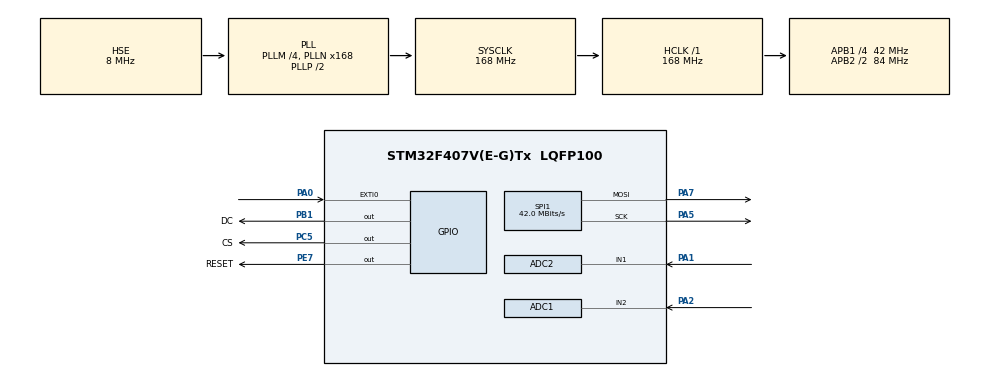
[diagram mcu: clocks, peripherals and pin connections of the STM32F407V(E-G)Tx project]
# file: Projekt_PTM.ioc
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ADC1.Channel-3\#ChannelRegularConversion=ADC_CHANNEL_2
ADC1.ClockPrescaler=ADC_CLOCK_SYNC_PCLK_DIV8
ADC1.ContinuousConvMode=ENABLE
ADC1.DMAContinuousRequests=ENABLE
ADC1.NbrOfConversionFlag=1
ADC1.Rank-3\#ChannelRegularConversion=1
ADC1.SamplingTime-3\#ChannelRegularConversion=ADC_SAMPLETIME_480CYCLES
ADC1.ScanConvMode=ENABLE
ADC1.master=1
ADC2.Channel-0\#ChannelRegularConversion=ADC_CHANNEL_1
ADC2.ClockPrescaler=ADC_CLOCK_SYNC_PCLK_DIV8
ADC2.NbrOfConversion=1
ADC2.NbrOfConversionFlag=1
ADC2.Rank-0\#ChannelRegularConversion=1
ADC2.SamplingTime-0\#ChannelRegularConversion=ADC_SAMPLETIME_3CYCLES
Dma.ADC1.0.Direction=DMA_PERIPH_TO_MEMORY
Dma.ADC1.0.FIFOMode=DMA_FIFOMODE_DISABLE
Dma.ADC1.0.Instance=DMA2_Stream0
Dma.ADC1.0.MemDataAlignment=DMA_MDATAALIGN_WORD
Dma.ADC1.0.MemInc=DMA_MINC_ENABLE
Dma.ADC1.0.Mode=DMA_CIRCULAR
Dma.ADC1.0.PeriphDataAlignment=DMA_PDATAALIGN_WORD
Dma.ADC1.0.PeriphInc=DMA_PINC_DISABLE
Dma.ADC1.0.Priority=DMA_PRIORITY_LOW
Dma.Request0=ADC1
Mcu.Family=STM32F4
Mcu.Name=STM32F407V(E-G)Tx
Mcu.Package=LQFP100
NVIC.ADC_IRQn=true\:0\:0\:false\:false\:true\:true\:true
NVIC.DMA2_Stream0_IRQn=true\:0\:0\:false\:false\:true\:false\:true
NVIC.EXTI0_IRQn=true\:0\:0\:false\:false\:true\:true\:true
NVIC.PriorityGroup=NVIC_PRIORITYGROUP_4
PA0-WKUP.Signal=GPXTI0
PA1.Signal=ADCx_IN1
PA2.Signal=ADCx_IN2
PA5.Mode=TX_Only_Simplex_Unidirect_Master
PA5.Signal=SPI1_SCK
PA7.Mode=TX_Only_Simplex_Unidirect_Master
PA7.Signal=SPI1_MOSI
PB1.GPIO_Label=DC
PB1.GPIO_ModeDefaultOutputPP=GPIO_MODE_OUTPUT_PP
PB1.GPIO_PuPd=GPIO_NOPULL
PB1.GPIO_Speed=GPIO_SPEED_FREQ_LOW
PB1.PinState=GPIO_PIN_RESET
PB1.Signal=GPIO_Output
PC5.GPIO_Label=CS
PC5.GPIO_ModeDefaultOutputPP=GPIO_MODE_OUTPUT_PP
PC5.GPIO_PuPd=GPIO_NOPULL
PC5.GPIO_Speed=GPIO_SPEED_FREQ_LOW
PC5.PinState=GPIO_PIN_RESET
PC5.Signal=GPIO_Output
PE7.GPIO_Label=RESET
PE7.GPIO_ModeDefaultOutputPP=GPIO_MODE_OUTPUT_PP
PE7.GPIO_PuPd=GPIO_NOPULL
PE7.GPIO_Speed=GPIO_SPEED_FREQ_LOW
PE7.PinState=GPIO_PIN_RESET
PE7.Signal=GPIO_Output
PH0-OSC_IN.Mode=HSE-External-Oscillator
PH0-OSC_IN.Signal=RCC_OSC_IN
PH1-OSC_OUT.Mode=HSE-External-Oscillator
PH1-OSC_OUT.Signal=RCC_OSC_OUT
ProjectManager.HeapSize=0x200
ProjectManager.StackSize=0x400
ProjectManager.TargetToolchain=STM32CubeIDE
RCC.48MHZClocksFreq_Value=84000000
RCC.AHBFreq_Value=168000000
RCC.APB1CLKDivider=RCC_HCLK_DIV4
RCC.APB1Freq_Value=42000000
RCC.APB1TimFreq_Value=84000000
RCC.APB2CLKDivider=RCC_HCLK_DIV2
RCC.APB2Freq_Value=84000000
RCC.APB2TimFreq_Value=168000000
RCC.CortexFreq_Value=168000000
RCC.HCLKFreq_Value=168000000
RCC.HSE_VALUE=8000000
RCC.HSI_VALUE=16000000
RCC.LSE_VALUE=32768
RCC.PLLM=4
RCC.PLLN=168
RCC.PLLSourceVirtual=RCC_PLLSOURCE_HSE
RCC.SYSCLKFreq_VALUE=168000000
RCC.SYSCLKSource=RCC_SYSCLKSOURCE_PLLCLK
RCC.VCOOutputFreq_Value=336000000
SH.ADCx_IN1.0=ADC2_IN1,IN1
SH.ADCx_IN2.0=ADC1_IN2,IN2
SPI1.CLKPhase=SPI_PHASE_2EDGE
SPI1.CLKPolarity=SPI_POLARITY_HIGH
SPI1.CalculateBaudRate=42.0 MBits/s
SPI1.Direction=SPI_DIRECTION_2LINES
SPI1.Mode=SPI_MODE_MASTER
SPI1.VirtualType=VM_MASTER
board=custom

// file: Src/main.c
/* USER CODE BEGIN Header */
/**
  ******************************************************************************
  * @file           : main.c
  * @brief          : Main program body
  ******************************************************************************
  * @attention
  *
  * <h2><center>&copy; Copyright (c) 2020 STMicroelectronics.
  * All rights reserved.</center></h2>
  *
  * This software component is licensed by ST under BSD 3-Clause license,
  * the "License"; You may not use this file except in compliance with the
  * License. You may obtain a copy of the License at:
  *                        opensource.org/licenses/BSD-3-Clause
  *
  ******************************************************************************
  */
/* USER CODE END Header */

#include "main.h"

/* USER CODE BEGIN Includes */
#include "SSD1331.h"
/* USER CODE END Includes */

ADC_HandleTypeDef hadc1;
ADC_HandleTypeDef hadc2;
DMA_HandleTypeDef hdma_adc1;

SPI_HandleTypeDef hspi1;

/* USER CODE BEGIN PV */
int const ILOSC_CZUJNIKOW=2;
float air_quality_val=0;
int switcher=0;
uint16_t adc_avg;
uint16_t sum;
float temp=0;
uint16_t temp_buf[9];

/* USER CODE END PV */

void SystemClock_Config(void);
static void MX_GPIO_Init(void);
static void MX_DMA_Init(void);
static void MX_SPI1_Init(void);
static void MX_ADC1_Init(void);
static void MX_ADC2_Init(void);
/* USER CODE BEGIN PFP */

void HAL_ADC_ConvCpltCallback(ADC_HandleTypeDef* hadc)
{

	adc_avg=(temp_buf[0]+temp_buf[2]+temp_buf[4]+temp_buf[6]+temp_buf[8])/5;
	temp = ((adc_avg*3*100)/4095);

}
void HAL_GPIO_EXTI_Callback(uint16_t GPIO_Pin)
{
 if(HAL_GPIO_ReadPin(GPIOA, GPIO_PIN_0) == GPIO_PIN_SET)
 {
	 if(switcher==ILOSC_CZUJNIKOW-1)switcher=0;
	 else switcher++;

 }
}
float ADC_avg()
{
	float adc_temp=0;
	float adc=0;
	if(HAL_ADC_PollForConversion(&hadc2, 10) == HAL_OK)
		   		  {
		   		   adc = HAL_ADC_GetValue(&hadc2);
		   		  }
		   for(int i=0;i<10;i++){
			   adc_temp=adc_temp+adc;
			   HAL_Delay(200);

		   }
		   return adc_temp=adc_temp/10;
}
void wyswietlanie()
{
	ssd1331_clear_screen(WHITE);
	switch(switcher)
	{
	case 0:
		ssd1331_display_string(0,0,"Jakosc powietrza: ",FONT_1206,BLACK);
		ssd1331_display_num (33,21,air_quality_val,4,FONT_1608,BLACK);
		break;

	case 1:
		ssd1331_display_string(0,0,"Temperatura: ",FONT_1206,BLACK);
		ssd1331_display_num (33,21,temp,2,FONT_1608,BLACK);
		break;
	}

}
/* USER CODE END PFP */

int main(void)
{

  /* MCU Configuration--------------------------------------------------------*/

  /* Reset of all peripherals, Initializes the Flash interface and the Systick. */
  HAL_Init();

  /* Configure the system clock */
  SystemClock_Config();

  /* Initialize all configured peripherals */
  MX_GPIO_Init();
  MX_DMA_Init();
  MX_SPI1_Init();
  MX_ADC1_Init();
  MX_ADC2_Init();
  /* USER CODE BEGIN 2 */

  HAL_ADC_Start_DMA (&hadc1, temp_buf, 5);
  //HAL_Delay(500);
ssd1331_init();
ssd1331_clear_screen(WHITE);

  /* USER CODE END 2 */

  /* Infinite loop */
  /* USER CODE BEGIN WHILE */
   while (1)
  {
	   HAL_ADC_Start(&hadc2);
	   air_quality_val=ADC_avg();
	   wyswietlanie();
	   HAL_Delay(3000);
    /* USER CODE END WHILE */

  }
}

void SystemClock_Config(void)
{
  RCC_OscInitTypeDef RCC_OscInitStruct = {0};
  RCC_ClkInitTypeDef RCC_ClkInitStruct = {0};

  /** Configure the main internal regulator output voltage
  */
  __HAL_RCC_PWR_CLK_ENABLE();
  __HAL_PWR_VOLTAGESCALING_CONFIG(PWR_REGULATOR_VOLTAGE_SCALE1);
  /** Initializes the CPU, AHB and APB busses clocks
  */
  RCC_OscInitStruct.OscillatorType = RCC_OSCILLATORTYPE_HSE;
  RCC_OscInitStruct.HSEState = RCC_HSE_ON;
  RCC_OscInitStruct.PLL.PLLState = RCC_PLL_ON;
  RCC_OscInitStruct.PLL.PLLSource = RCC_PLLSOURCE_HSE;
  RCC_OscInitStruct.PLL.PLLM = 4;
  RCC_OscInitStruct.PLL.PLLN = 168;
  RCC_OscInitStruct.PLL.PLLP = RCC_PLLP_DIV2;
  RCC_OscInitStruct.PLL.PLLQ = 4;
  if (HAL_RCC_OscConfig(&RCC_OscInitStruct) != HAL_OK)
  {
    Error_Handler();
  }
  /** Initializes the CPU, AHB and APB busses clocks
  */
  RCC_ClkInitStruct.ClockType = RCC_CLOCKTYPE_HCLK|RCC_CLOCKTYPE_SYSCLK
                              |RCC_CLOCKTYPE_PCLK1|RCC_CLOCKTYPE_PCLK2;
  RCC_ClkInitStruct.SYSCLKSource = RCC_SYSCLKSOURCE_PLLCLK;
  RCC_ClkInitStruct.AHBCLKDivider = RCC_SYSCLK_DIV1;
  RCC_ClkInitStruct.APB1CLKDivider = RCC_HCLK_DIV4;
  RCC_ClkInitStruct.APB2CLKDivider = RCC_HCLK_DIV2;

  if (HAL_RCC_ClockConfig(&RCC_ClkInitStruct, FLASH_LATENCY_5) != HAL_OK)
  {
    Error_Handler();
  }
}

static void MX_ADC1_Init(void)
{

  ADC_ChannelConfTypeDef sConfig = {0};

  /** Configure the global features of the ADC (Clock, Resolution, Data Alignment and number of conversion)
  */
  hadc1.Instance = ADC1;
  hadc1.Init.ClockPrescaler = ADC_CLOCK_SYNC_PCLK_DIV8;
  hadc1.Init.Resolution = ADC_RESOLUTION_12B;
  hadc1.Init.ScanConvMode = ENABLE;
  hadc1.Init.ContinuousConvMode = ENABLE;
  hadc1.Init.DiscontinuousConvMode = DISABLE;
  hadc1.Init.ExternalTrigConvEdge = ADC_EXTERNALTRIGCONVEDGE_NONE;
  hadc1.Init.ExternalTrigConv = ADC_SOFTWARE_START;
  hadc1.Init.DataAlign = ADC_DATAALIGN_RIGHT;
  hadc1.Init.NbrOfConversion = 1;
  hadc1.Init.DMAContinuousRequests = ENABLE;
  hadc1.Init.EOCSelection = ADC_EOC_SINGLE_CONV;
  if (HAL_ADC_Init(&hadc1) != HAL_OK)
  {
    Error_Handler();
  }
  /** Configure for the selected ADC regular channel its corresponding rank in the sequencer and its sample time.
  */
  sConfig.Channel = ADC_CHANNEL_2;
  sConfig.Rank = 1;
  sConfig.SamplingTime = ADC_SAMPLETIME_480CYCLES;
  if (HAL_ADC_ConfigChannel(&hadc1, &sConfig) != HAL_OK)
  {
    Error_Handler();
  }

}

static void MX_ADC2_Init(void)
{

  ADC_ChannelConfTypeDef sConfig = {0};

  /** Configure the global features of the ADC (Clock, Resolution, Data Alignment and number of conversion)
  */
  hadc2.Instance = ADC2;
  hadc2.Init.ClockPrescaler = ADC_CLOCK_SYNC_PCLK_DIV8;
  hadc2.Init.Resolution = ADC_RESOLUTION_12B;
  hadc2.Init.ScanConvMode = DISABLE;
  hadc2.Init.ContinuousConvMode = DISABLE;
  hadc2.Init.DiscontinuousConvMode = DISABLE;
  hadc2.Init.ExternalTrigConvEdge = ADC_EXTERNALTRIGCONVEDGE_NONE;
  hadc2.Init.ExternalTrigConv = ADC_SOFTWARE_START;
  hadc2.Init.DataAlign = ADC_DATAALIGN_RIGHT;
  hadc2.Init.NbrOfConversion = 1;
  hadc2.Init.DMAContinuousRequests = DISABLE;
  hadc2.Init.EOCSelection = ADC_EOC_SINGLE_CONV;
  if (HAL_ADC_Init(&hadc2) != HAL_OK)
  {
    Error_Handler();
  }
  /** Configure for the selected ADC regular channel its corresponding rank in the sequencer and its sample time.
  */
  sConfig.Channel = ADC_CHANNEL_1;
  sConfig.Rank = 1;
  sConfig.SamplingTime = ADC_SAMPLETIME_3CYCLES;
  if (HAL_ADC_ConfigChannel(&hadc2, &sConfig) != HAL_OK)
  {
    Error_Handler();
  }

}

static void MX_SPI1_Init(void)
{

  /* SPI1 parameter configuration*/
  hspi1.Instance = SPI1;
  hspi1.Init.Mode = SPI_MODE_MASTER;
  hspi1.Init.Direction = SPI_DIRECTION_2LINES;
  hspi1.Init.DataSize = SPI_DATASIZE_8BIT;
  hspi1.Init.CLKPolarity = SPI_POLARITY_HIGH;
  hspi1.Init.CLKPhase = SPI_PHASE_2EDGE;
  hspi1.Init.NSS = SPI_NSS_SOFT;
  hspi1.Init.BaudRatePrescaler = SPI_BAUDRATEPRESCALER_2;
  hspi1.Init.FirstBit = SPI_FIRSTBIT_MSB;
  hspi1.Init.TIMode = SPI_TIMODE_DISABLE;
  hspi1.Init.CRCCalculation = SPI_CRCCALCULATION_DISABLE;
  hspi1.Init.CRCPolynomial = 10;
  if (HAL_SPI_Init(&hspi1) != HAL_OK)
  {
    Error_Handler();
  }

}

static void MX_DMA_Init(void)
{

  /* DMA controller clock enable */
  __HAL_RCC_DMA2_CLK_ENABLE();

  /* DMA interrupt init */
  /* DMA2_Stream0_IRQn interrupt configuration */
  HAL_NVIC_SetPriority(DMA2_Stream0_IRQn, 0, 0);
  HAL_NVIC_EnableIRQ(DMA2_Stream0_IRQn);

}

static void MX_GPIO_Init(void)
{
  GPIO_InitTypeDef GPIO_InitStruct = {0};

  /* GPIO Ports Clock Enable */
  __HAL_RCC_GPIOH_CLK_ENABLE();
  __HAL_RCC_GPIOA_CLK_ENABLE();
  __HAL_RCC_GPIOC_CLK_ENABLE();
  __HAL_RCC_GPIOB_CLK_ENABLE();
  __HAL_RCC_GPIOE_CLK_ENABLE();

  /*Configure GPIO pin Output Level */
  HAL_GPIO_WritePin(CS_GPIO_Port, CS_Pin, GPIO_PIN_RESET);

  /*Configure GPIO pin Output Level */
  HAL_GPIO_WritePin(DC_GPIO_Port, DC_Pin, GPIO_PIN_RESET);

  /*Configure GPIO pin Output Level */
  HAL_GPIO_WritePin(RESET_GPIO_Port, RESET_Pin, GPIO_PIN_RESET);

  /*Configure GPIO pin : PA0 */
  GPIO_InitStruct.Pin = GPIO_PIN_0;
  GPIO_InitStruct.Mode = GPIO_MODE_IT_RISING;
  GPIO_InitStruct.Pull = GPIO_NOPULL;
  HAL_GPIO_Init(GPIOA, &GPIO_InitStruct);

  /*Configure GPIO pin : CS_Pin */
  GPIO_InitStruct.Pin = CS_Pin;
  GPIO_InitStruct.Mode = GPIO_MODE_OUTPUT_PP;
  GPIO_InitStruct.Pull = GPIO_NOPULL;
  GPIO_InitStruct.Speed = GPIO_SPEED_FREQ_LOW;
  HAL_GPIO_Init(CS_GPIO_Port, &GPIO_InitStruct);

  /*Configure GPIO pin : DC_Pin */
  GPIO_InitStruct.Pin = DC_Pin;
  GPIO_InitStruct.Mode = GPIO_MODE_OUTPUT_PP;
  GPIO_InitStruct.Pull = GPIO_NOPULL;
  GPIO_InitStruct.Speed = GPIO_SPEED_FREQ_LOW;
  HAL_GPIO_Init(DC_GPIO_Port, &GPIO_InitStruct);

  /*Configure GPIO pin : RESET_Pin */
  GPIO_InitStruct.Pin = RESET_Pin;
  GPIO_InitStruct.Mode = GPIO_MODE_OUTPUT_PP;
  GPIO_InitStruct.Pull = GPIO_NOPULL;
  GPIO_InitStruct.Speed = GPIO_SPEED_FREQ_LOW;
  HAL_GPIO_Init(RESET_GPIO_Port, &GPIO_InitStruct);

  /* EXTI interrupt init*/
  HAL_NVIC_SetPriority(EXTI0_IRQn, 0, 0);
  HAL_NVIC_EnableIRQ(EXTI0_IRQn);

}

void Error_Handler(void)
{
}

/************************ (C) COPYRIGHT STMicroelectronics *****END OF FILE****/
